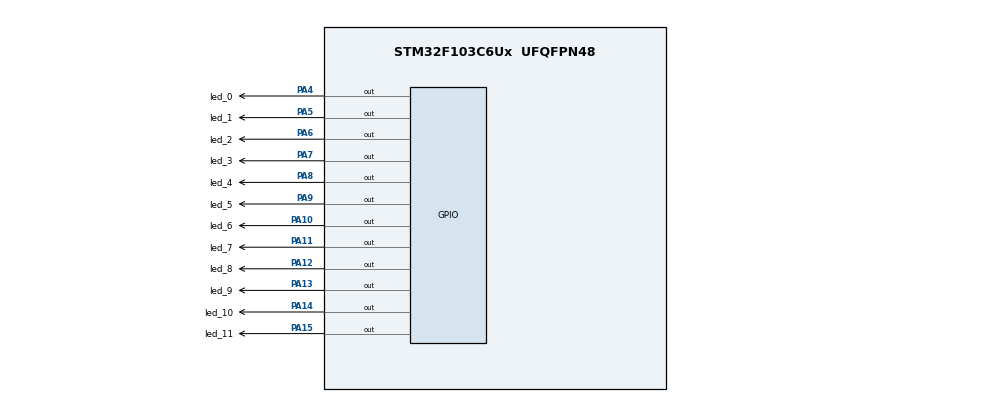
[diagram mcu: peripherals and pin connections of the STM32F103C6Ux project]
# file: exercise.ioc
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Mcu.Family=STM32F1
Mcu.Name=STM32F103C6Ux
Mcu.Package=UFQFPN48
NVIC.PriorityGroup=NVIC_PRIORITYGROUP_4
PA10.GPIO_Label=led_6
PA10.Signal=GPIO_Output
PA11.GPIO_Label=led_7
PA11.Signal=GPIO_Output
PA12.GPIO_Label=led_8
PA12.Signal=GPIO_Output
PA13.GPIO_Label=led_9
PA13.Signal=GPIO_Output
PA14.GPIO_Label=led_10
PA14.Signal=GPIO_Output
PA15.GPIO_Label=led_11
PA15.Signal=GPIO_Output
PA4.GPIO_Label=led_0
PA4.Signal=GPIO_Output
PA5.GPIO_Label=led_1
PA5.Signal=GPIO_Output
PA6.GPIO_Label=led_2
PA6.Signal=GPIO_Output
PA7.GPIO_Label=led_3
PA7.Signal=GPIO_Output
PA8.GPIO_Label=led_4
PA8.Signal=GPIO_Output
PA9.GPIO_Label=led_5
PA9.Signal=GPIO_Output
ProjectManager.HeapSize=0x200
ProjectManager.StackSize=0x400
ProjectManager.TargetToolchain=STM32CubeIDE
RCC.APB1Freq_Value=8000000
RCC.APB2Freq_Value=8000000
VP_SYS_VS_ND.Mode=No_Debug
board=custom

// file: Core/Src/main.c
/* USER CODE BEGIN Header */
/**
  ******************************************************************************
  * @file           : main.c
  * @brief          : Main program body
  ******************************************************************************
  * @attention
  *
  * <h2><center>&copy; Copyright (c) 2023 STMicroelectronics.
  * All rights reserved.</center></h2>
  *
  * This software component is licensed by ST under BSD 3-Clause license,
  * the "License"; You may not use this file except in compliance with the
  * License. You may obtain a copy of the License at:
  *                        opensource.org/licenses/BSD-3-Clause
  *
  ******************************************************************************
  */
/* USER CODE END Header */
#include "main.h"

void SystemClock_Config(void);
static void MX_GPIO_Init(void);
/* USER CODE BEGIN PFP */
void clearAllClock();
void setNumberOnClock(int num);
void clearNumberOnClock(int num);
/* USER CODE END PFP */

/* USER CODE BEGIN 0 */
void clearAllClock() {
	HAL_GPIO_WritePin(GPIOA, led_0_Pin | led_1_Pin | led_2_Pin | led_3_Pin | led_4_Pin | led_5_Pin | led_6_Pin | led_7_Pin | led_8_Pin | led_9_Pin | led_10_Pin | led_11_Pin, GPIO_PIN_SET);
}

void setNumberOnClock(int num) {
	switch(num) {
		case 0:
			HAL_GPIO_WritePin(led_0_GPIO_Port, led_0_Pin, GPIO_PIN_RESET);
			break;
		case 1:
			HAL_GPIO_WritePin(led_1_GPIO_Port, led_1_Pin, GPIO_PIN_RESET);
			break;
		case 2:
			HAL_GPIO_WritePin(led_2_GPIO_Port, led_2_Pin, GPIO_PIN_RESET);
			break;
		case 3:
			HAL_GPIO_WritePin(led_3_GPIO_Port, led_3_Pin, GPIO_PIN_RESET);
			break;
		case 4:
			HAL_GPIO_WritePin(led_4_GPIO_Port, led_4_Pin, GPIO_PIN_RESET);
			break;
		case 5:
			HAL_GPIO_WritePin(led_5_GPIO_Port, led_5_Pin, GPIO_PIN_RESET);
			break;
		case 6:
			HAL_GPIO_WritePin(led_6_GPIO_Port, led_6_Pin, GPIO_PIN_RESET);
			break;
		case 7:
			HAL_GPIO_WritePin(led_7_GPIO_Port, led_7_Pin, GPIO_PIN_RESET);
			break;
		case 8:
			HAL_GPIO_WritePin(led_8_GPIO_Port, led_8_Pin, GPIO_PIN_RESET);
			break;
		case 9:
			HAL_GPIO_WritePin(led_9_GPIO_Port, led_9_Pin, GPIO_PIN_RESET);
			break;
		case 10:
			HAL_GPIO_WritePin(led_10_GPIO_Port, led_10_Pin, GPIO_PIN_RESET);
			break;
		case 11:
			HAL_GPIO_WritePin(led_11_GPIO_Port, led_11_Pin, GPIO_PIN_RESET);
			break;
		default:
			HAL_GPIO_WritePin(led_0_GPIO_Port, led_0_Pin, GPIO_PIN_RESET);
	}
}

void clearNumberOnClock(int num) {
	switch(num) {
		case 0:
			HAL_GPIO_WritePin(led_0_GPIO_Port, led_0_Pin, GPIO_PIN_SET);
			break;
		case 1:
			HAL_GPIO_WritePin(led_1_GPIO_Port, led_1_Pin, GPIO_PIN_SET);
			break;
		case 2:
			HAL_GPIO_WritePin(led_2_GPIO_Port, led_2_Pin, GPIO_PIN_SET);
			break;
		case 3:
			HAL_GPIO_WritePin(led_3_GPIO_Port, led_3_Pin, GPIO_PIN_SET);
			break;
		case 4:
			HAL_GPIO_WritePin(led_4_GPIO_Port, led_4_Pin, GPIO_PIN_SET);
			break;
		case 5:
			HAL_GPIO_WritePin(led_5_GPIO_Port, led_5_Pin, GPIO_PIN_SET);
			break;
		case 6:
			HAL_GPIO_WritePin(led_6_GPIO_Port, led_6_Pin, GPIO_PIN_SET);
			break;
		case 7:
			HAL_GPIO_WritePin(led_7_GPIO_Port, led_7_Pin, GPIO_PIN_SET);
			break;
		case 8:
			HAL_GPIO_WritePin(led_8_GPIO_Port, led_8_Pin, GPIO_PIN_SET);
			break;
		case 9:
			HAL_GPIO_WritePin(led_9_GPIO_Port, led_9_Pin, GPIO_PIN_SET);
			break;
		case 10:
			HAL_GPIO_WritePin(led_10_GPIO_Port, led_10_Pin, GPIO_PIN_SET);
			break;
		case 11:
			HAL_GPIO_WritePin(led_11_GPIO_Port, led_11_Pin, GPIO_PIN_SET);
			break;
		default:
			HAL_GPIO_WritePin(led_0_GPIO_Port, led_0_Pin, GPIO_PIN_SET);
	}
}

/* USER CODE END 0 */

int main(void)
{

  /* MCU Configuration--------------------------------------------------------*/

  /* Reset of all peripherals, Initializes the Flash interface and the Systick. */
  HAL_Init();

  /* Configure the system clock */
  SystemClock_Config();

  /* Initialize all configured peripherals */
  MX_GPIO_Init();
  /* USER CODE BEGIN 2 */
  clearAllClock();
  setNumberOnClock(0);
  int sec_count = 5;
  int min_count = 300;
  int hour_count = 3600;
  int sec_led = 0;
  int min_led = 0;
  int hour_led = 0;
  /* USER CODE END 2 */

  /* Infinite loop */
  /* USER CODE BEGIN WHILE */
  while (1)
  {
	  if (sec_count == 0) {
		  sec_count = 5;
		  sec_led++;
	  }
	  if (min_count == 0) {
		  min_count = 300;
		  min_led++;
	  }
	  if (hour_count == 0) {
		  hour_count = 3600;
		  hour_led++;
	  }
	  if (sec_led > 11)
		  sec_led = 0;
	  if (min_led > 11)
		  min_led = 0;
	  if (hour_led > 11)
		  hour_led = 0;
	  clearAllClock();
	  setNumberOnClock(sec_led);
	  setNumberOnClock(min_led);
	  setNumberOnClock(hour_led);
	  sec_count--;
	  min_count--;
	  hour_count--;
	  HAL_Delay(10);
    /* USER CODE END WHILE */

  }
}

void SystemClock_Config(void)
{
  RCC_OscInitTypeDef RCC_OscInitStruct = {0};
  RCC_ClkInitTypeDef RCC_ClkInitStruct = {0};

  /** Initializes the RCC Oscillators according to the specified parameters
  * in the RCC_OscInitTypeDef structure.
  */
  RCC_OscInitStruct.OscillatorType = RCC_OSCILLATORTYPE_HSI;
  RCC_OscInitStruct.HSIState = RCC_HSI_ON;
  RCC_OscInitStruct.HSICalibrationValue = RCC_HSICALIBRATION_DEFAULT;
  RCC_OscInitStruct.PLL.PLLState = RCC_PLL_NONE;
  if (HAL_RCC_OscConfig(&RCC_OscInitStruct) != HAL_OK)
  {
    Error_Handler();
  }
  /** Initializes the CPU, AHB and APB buses clocks
  */
  RCC_ClkInitStruct.ClockType = RCC_CLOCKTYPE_HCLK|RCC_CLOCKTYPE_SYSCLK
                              |RCC_CLOCKTYPE_PCLK1|RCC_CLOCKTYPE_PCLK2;
  RCC_ClkInitStruct.SYSCLKSource = RCC_SYSCLKSOURCE_HSI;
  RCC_ClkInitStruct.AHBCLKDivider = RCC_SYSCLK_DIV1;
  RCC_ClkInitStruct.APB1CLKDivider = RCC_HCLK_DIV1;
  RCC_ClkInitStruct.APB2CLKDivider = RCC_HCLK_DIV1;

  if (HAL_RCC_ClockConfig(&RCC_ClkInitStruct, FLASH_LATENCY_0) != HAL_OK)
  {
    Error_Handler();
  }
}

static void MX_GPIO_Init(void)
{
  GPIO_InitTypeDef GPIO_InitStruct = {0};

  /* GPIO Ports Clock Enable */
  __HAL_RCC_GPIOA_CLK_ENABLE();

  /*Configure GPIO pin Output Level */
  HAL_GPIO_WritePin(GPIOA, led_0_Pin|led_1_Pin|led_2_Pin|led_3_Pin
                          |led_4_Pin|led_5_Pin|led_6_Pin|led_7_Pin
                          |led_8_Pin|led_9_Pin|led_10_Pin|led_11_Pin, GPIO_PIN_RESET);

  /*Configure GPIO pins : led_0_Pin led_1_Pin led_2_Pin led_3_Pin
                           led_4_Pin led_5_Pin led_6_Pin led_7_Pin
                           led_8_Pin led_9_Pin led_10_Pin led_11_Pin */
  GPIO_InitStruct.Pin = led_0_Pin|led_1_Pin|led_2_Pin|led_3_Pin
                          |led_4_Pin|led_5_Pin|led_6_Pin|led_7_Pin
                          |led_8_Pin|led_9_Pin|led_10_Pin|led_11_Pin;
  GPIO_InitStruct.Mode = GPIO_MODE_OUTPUT_PP;
  GPIO_InitStruct.Pull = GPIO_NOPULL;
  GPIO_InitStruct.Speed = GPIO_SPEED_FREQ_LOW;
  HAL_GPIO_Init(GPIOA, &GPIO_InitStruct);

}

void Error_Handler(void)
{
  __disable_irq();
  while (1)
  {
  }
}

/************************ (C) COPYRIGHT STMicroelectronics *****END OF FILE****/
